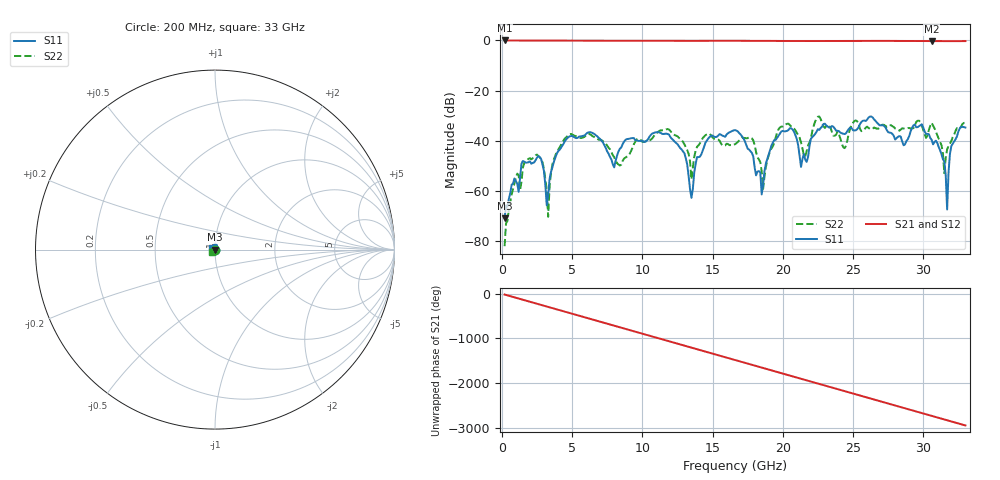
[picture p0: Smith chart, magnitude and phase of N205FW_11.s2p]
# GHZ S RI R 50
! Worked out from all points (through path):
!   329 points, 200 MHz to 33 GHz, reference 50 ohm
!   highest |S21| = -0.02 dB at 200 MHz (marker M1); lowest = -0.3 dB at 30.6 GHz (marker M2)
!   group delay of S21, straight-line fit = 248 ps
!   lowest |S11| = -71.0 dB at 200 MHz (marker M3), VSWR 1.00, Z = 50 - j0.00193 ohm
!   |S11| at or under -10 dB: start of sweep to end of sweep
!   |S22| runs from -82.1 to -30.4 dB; largest |S21 - S12| = 0.0022
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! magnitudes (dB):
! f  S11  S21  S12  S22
! 200 MHz  -71.0  0.0  0.0  -82.1
! 1.6 GHz  -48.4  -0.1  -0.1  -48.9
! 2.8 GHz  -47.3  -0.1  -0.1  -47.4
! 3.3 GHz  -61.7  -0.1  -0.1  -70.4
! 3.9 GHz  -45.4  -0.1  -0.1  -44.6
! 5.7 GHz  -38.3  -0.1  -0.1  -38.9
! 8 GHz  -50.7  -0.1  -0.1  -46.6
! 11.2 GHz  -36.7  -0.2  -0.2  -36.2
! 13 GHz  -45.1  -0.2  -0.2  -41.5
! 13.5 GHz  -62.8  -0.2  -0.2  -55.4
! 14.5 GHz  -40.7  -0.2  -0.2  -37.8
! 16.6 GHz  -35.8  -0.1  -0.1  -41.4
! 18.5 GHz  -61.5  -0.2  -0.2  -52.3
! 19.9 GHz  -36.3  -0.2  -0.2  -34.4
! 21.3 GHz  -50.5  -0.2  -0.2  -40.7
! 22.1 GHz  -38.6  -0.2  -0.2  -36.2
! 27.6 GHz  -36.8  -0.2  -0.2  -33.8
! 30.6 GHz  -39.7  -0.3  -0.3  -32.9
! 31.5 GHz  -48.4  -0.3  -0.3  -53.0
! 31.7 GHz  -67.5  -0.3  -0.3  -43.5
! 32 GHz  -42.1  -0.3  -0.3  -40.1
! 33 GHz  -34.8  -0.3  -0.3  -32.9
